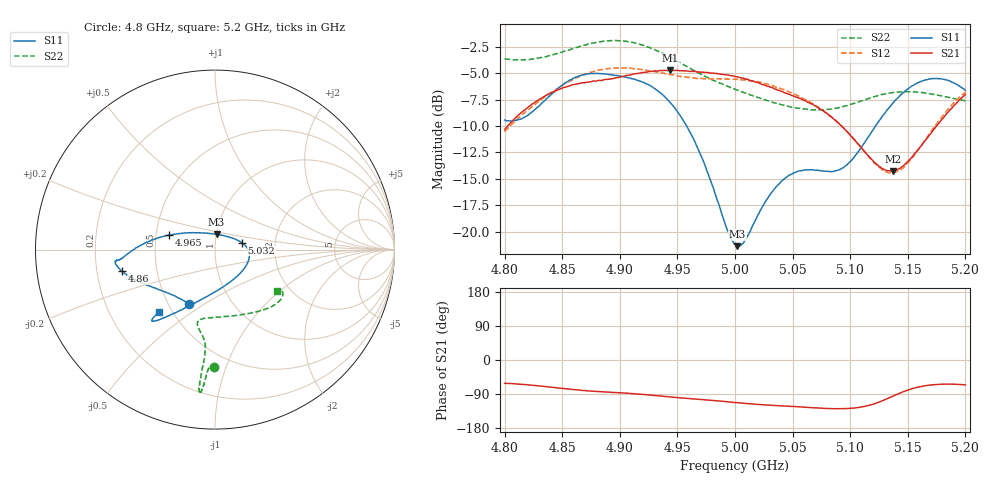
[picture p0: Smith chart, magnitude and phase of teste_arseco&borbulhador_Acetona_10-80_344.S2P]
! Network Analyzer HP8722D
! Hewlett-Packard
! Data name: Linha & Wilkinson
! Saver's name: Rodrigo Anjos
! Comments: Teste da utilização de aquisição
! continua pelo VNA HP8722D
! Time and date: 17/4/2025 17:13
!  Frequency  S11  S21  S12  S22
# HZ  S  MA R 50
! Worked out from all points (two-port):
!   401 points, 4.8 GHz to 5.2 GHz, reference 50 ohm
!   highest |S21| = -4.73 dB at 4.944 GHz (marker M1); lowest = -14.3 dB at 5.137 GHz (marker M2)
!   |S21| within 3 dB of the highest: 4.827 GHz to 5.063 GHz (236 MHz wide, 4.77 % of centre); 5.193321 GHz to end of sweep
!   lowest |S11| = -21.4 dB at 5.002 GHz (marker M3), VSWR 1.19, Z = 50.1 + j8.58 ohm
!   |S11| at or under -10 dB: 4.958 GHz to 5.122 GHz (163.9 MHz wide, 3.25 % of centre)
!   |S22| runs from -8.5 to -1.9 dB; largest |S21 - S12| = 0.87
!   S11 on the Smith chart (normalised r, x): 4.8 GHz: 0.63, -0.43; 4.86 GHz: 0.31, -0.10; 4.965 GHz: 0.59, +0.10; 5.032 GHz: 1.34, +0.11; 5.2 GHz: 0.43, -0.38
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4.8e9  0.3369 -115.5  0.3042 -61.5  0.2972 -175.7  0.6568 -90.7
4.818e9  0.3495 -134.5  0.3783 -65.1  0.3685 -174.9  0.6501 -92.2
4.86e9  0.533 -167.0  0.4959 -78.0  0.5263 -178.1  0.7355 -94.4
4.867e9  0.5498 -169.7  0.5064 -80.1  0.5466 -179.4  0.7567 -94.8
4.9e9  0.5443 -173.8  0.5383 -86.5  0.5945 174.4  0.7993 -96.1
4.934e9  0.4595 -179.5  0.5772 -94.7  0.5671 170.8  0.7096 -96.4
4.944e9  0.4075 175.9  0.5802 -97.5  0.5522 171.0  0.6669 -96.1
4.965e9  0.2672 162.4  0.574 -103.1  0.5319 172.8  0.5756 -95.6
4.994e9  0.09997 114.1  0.5501 -110.2  0.5271 175.0  0.4856 -98.2
5e9  0.08704 92.4  0.5426 -112.3  0.5257 175.2  0.4713 -99.5
5.002e9  0.08538 84.4  0.5398 -112.6  0.5244 175.2  0.4677 -99.8
5.009e9  0.09162 58.7  0.5284 -114.4  0.5226 175.2  0.4518 -101.3
5.032e9  0.1539 14.8  0.4793 -119.5  0.4916 174.0  0.411 -103.3
5.049e9  0.1865 -1.8  0.4406 -122.5  0.4535 173.3  0.3872 -99.0
5.067e9  0.1962 -21.0  0.3998 -125.9  0.4043 172.9  0.3771 -89.4
5.096e9  0.2045 -71.4  0.3022 -128.2  0.3028 174.8  0.3934 -66.9
5.123e9  0.3221 -111.2  0.208 -113.5  0.207 -168.3  0.4382 -48.5
5.134e9  0.3873 -119.5  0.194 -99.7  0.1899 -152.9  0.4519 -43.2
5.137e9  0.4047 -121.2  0.1933 -95.6  0.1901 -148.1  0.4551 -41.9
5.149e9  0.4686 -126.3  0.2124 -80.4  0.2086 -130.4  0.4594 -37.5
5.17e9  0.5283 -131.0  0.2913 -65.9  0.2966 -112.1  0.4483 -32.7
5.2e9  0.4652 -132.1  0.4457 -65.7  0.4568 -107.7  0.4156 -34.1
